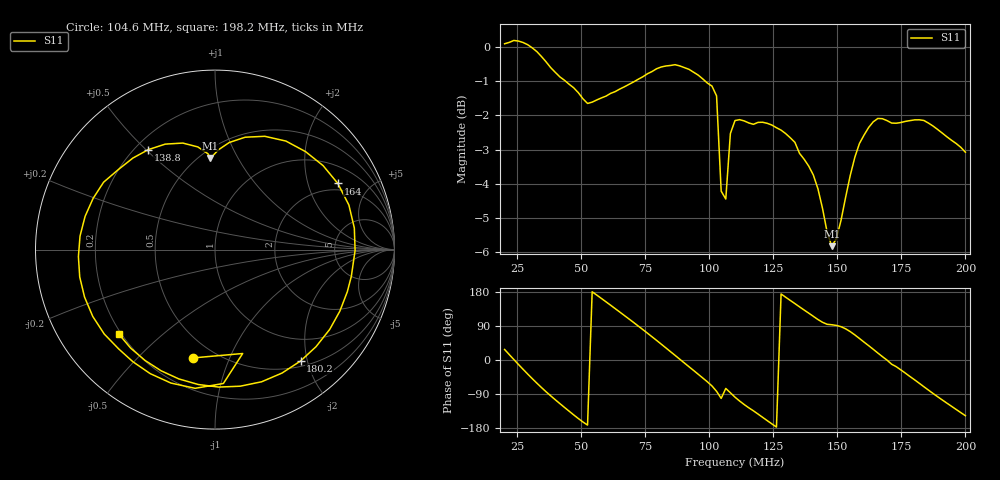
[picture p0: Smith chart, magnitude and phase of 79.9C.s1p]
# HZ S RI R 50
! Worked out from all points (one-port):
!   101 points, 20 MHz to 200 MHz, reference 50 ohm
!   lowest |S11| = -5.8 dB at 147.8 MHz (marker M1), VSWR 3.09, Z = 28.1 + j38.8 ohm
!   |S11| at or under -10 dB: nowhere
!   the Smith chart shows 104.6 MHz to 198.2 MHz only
!   S11 on the Smith chart (normalised r, x): 104.6 MHz: 0.38, -0.74; 138.8 MHz: 0.25, +0.51; 164 MHz: 1.68, +3.13; 180.2 MHz: 0.59, -1.88; 198.2 MHz: 0.19, -0.36
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2e7  0.8951 0.4712
2.54e7  0.9997 -0.2069
3.26e7  0.4768 -0.8621
3.8e7  -0.0737 -0.9305
4.34e7  -0.5155 -0.7308
5.42e7  -0.8307 0.000351
6.5e7  -0.5166 0.6979
7.58e7  0.3002 0.8636
8.3e7  0.7965 0.4964
8.84e7  0.9381 0.036
9.38e7  0.8157 -0.4235
9.92e7  0.4755 -0.7475
1.028e8  0.1088 -0.8415
1.046e8  -0.1206 -0.6033
1.064e8  0.1542 -0.5789
1.1e8  -0.1106 -0.7728
1.226e8  -0.7269 -0.2642
1.334e8  -0.6204 0.3757
1.388e8  -0.3713 0.557
1.478e8  -0.027 0.5102
1.55e8  0.168 0.6261
1.64e8  0.6846 0.3683
1.694e8  0.7805 -0.00478
1.784e8  0.5629 -0.5408
1.802e8  0.4765 -0.6207
1.892e8  -0.0934 -0.7515
1.982e8  -0.5368 -0.4697
2e8  -0.5883 -0.3824
